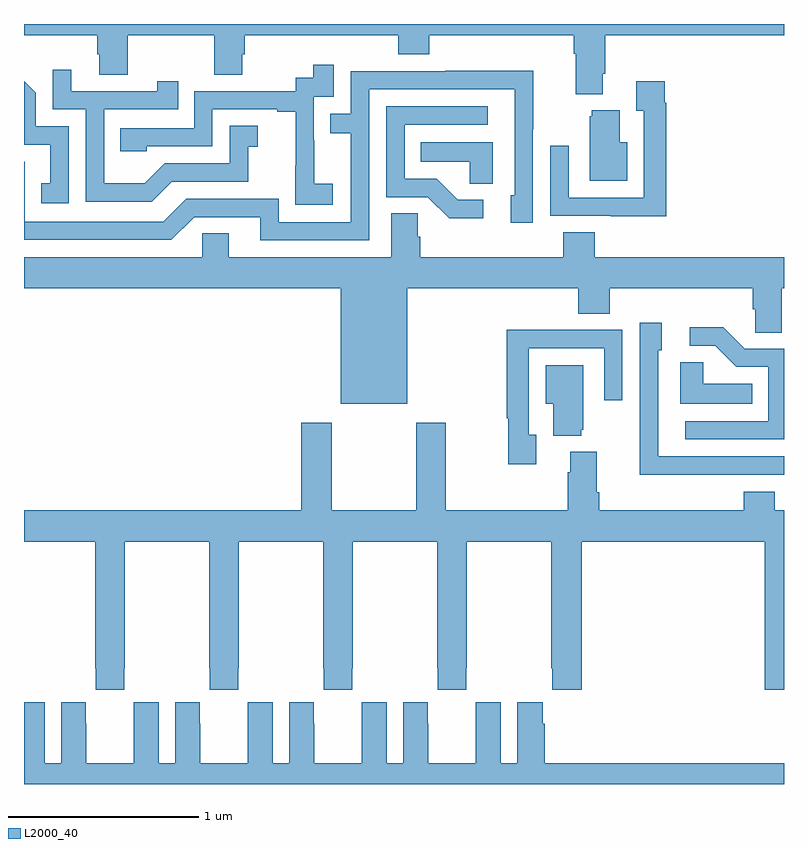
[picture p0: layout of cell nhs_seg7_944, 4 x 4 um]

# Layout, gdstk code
import gdstk
lib = gdstk.Library(unit=1e-6, precision=1e-09)
def P(c, l, *ps):  # polygons
    for p in ps: c.add(gdstk.Polygon(p, *l))
L2000_40 = (2000, 40)

nhs_seg7_944 = lib.new_cell('nhs_seg7_944')
P(nhs_seg7_944, L2000_40, [(184.045,1009.738),(184.058,1009.738),(184.058,1009.94),(185,1009.94),(185,1010),(181,1010),(181,1009.94),(181.385,1009.94),(181.385,1009.842),(181.397,1009.842),(181.397,1009.732),(181.545,1009.732),(181.545,1009.94),(182.002,1009.94),(182.002,1009.732),(182.149,1009.732),(182.149,1009.842),(182.162,1009.842),(182.162,1009.94),(182.969,1009.94),(182.969,1009.841),(183.134,1009.841),(183.134,1009.94),(183.893,1009.94),(183.893,1009.844),(183.905,1009.844),(183.905,1009.631),(184.045,1009.631)],
  [(182.626,1009.159),(182.528,1009.159),(182.528,1009.388),(182.526,1009.388),(182.526,1009.617),(182.631,1009.617),(182.631,1009.786),(182.523,1009.786),(182.523,1009.716),(182.43,1009.716),(182.43,1009.647),(181.896,1009.647),(181.896,1009.452),(181.507,1009.452),(181.507,1009.329),(181.647,1009.329),(181.647,1009.356),(181.992,1009.356),(181.992,1009.551),(182.333,1009.551),(182.333,1009.539),(182.429,1009.539),(182.429,1009.255),(182.428,1009.255),(182.428,1009.049),(182.626,1009.049)],
  [(181.777,1009.17),(182.181,1009.17),(182.181,1009.355),(182.23,1009.355),(182.23,1009.465),(182.082,1009.465),(182.082,1009.266),(181.74,1009.266),(181.636,1009.162),(181.422,1009.162),(181.422,1009.551),(181.811,1009.551),(181.811,1009.699),(181.7,1009.699),(181.7,1009.647),(181.249,1009.647),(181.249,1009.759),(181.152,1009.759),(181.152,1009.551),(181.326,1009.551),(181.326,1009.065),(181.672,1009.065)],
  [(182.817,1009.656),(183.582,1009.656),(183.582,1009.098),(183.563,1009.098),(183.563,1008.954),(183.678,1008.954),(183.678,1009.447),(183.681,1009.447),(183.681,1009.754),(183.217,1009.754),(183.217,1009.752),(182.721,1009.752),(182.721,1009.527),(182.611,1009.527),(182.611,1009.426),(182.721,1009.426),(182.721,1008.957),(182.34,1008.957),(182.34,1009.08),(181.854,1009.08),(181.734,1008.96),(181.005,1008.96),(181.005,1009.275),(181,1009.275),(181,1008.864),(181.776,1008.864),(181.896,1008.984),(182.243,1008.984),(182.243,1008.861),(182.817,1008.861)],
  [(181.236,1009.461),(181.062,1009.461),(181.062,1009.638),(181,1009.7),(181,1009.365),(181.139,1009.365),(181.139,1009.161),(181.09,1009.161),(181.09,1009.056),(181.236,1009.056)],
  [(184.379,1009.586),(184.372,1009.586),(184.372,1009.699),(184.223,1009.699),(184.223,1009.543),(184.263,1009.543),(184.263,1009.086),(183.867,1009.086),(183.867,1009.36),(183.771,1009.36),(183.771,1008.99),(184.087,1008.99),(184.087,1008.989),(184.379,1008.989)],
  [(183.418,1009.074),(183.283,1009.074),(183.172,1009.185),(183.003,1009.185),(183.003,1009.47),(183.442,1009.47),(183.442,1009.566),(182.907,1009.566),(182.907,1009.089),(183.126,1009.089),(183.239,1008.977),(183.418,1008.977)],
  [(184.174,1009.378),(184.135,1009.378),(184.135,1009.546),(183.989,1009.546),(183.989,1009.515),(183.977,1009.515),(183.977,1009.175),(184.174,1009.175)],
  [(183.466,1009.378),(183.088,1009.378),(183.088,1009.274),(183.345,1009.274),(183.345,1009.159),(183.466,1009.159)],
  [(182.666,1008.002),(183.016,1008.002),(183.016,1008.608),(183.917,1008.608),(183.917,1008.475),(184.082,1008.475),(184.082,1008.608),(184.835,1008.608),(184.835,1008.499),(184.848,1008.499),(184.848,1008.376),(184.987,1008.376),(184.987,1008.608),(185,1008.608),(185,1008.772),(184.004,1008.772),(184.004,1008.905),(183.839,1008.905),(183.839,1008.772),(183.086,1008.772),(183.086,1008.881),(183.072,1008.881),(183.072,1009.004),(182.933,1009.004),(182.933,1008.772),(182.077,1008.772),(182.077,1008.899),(181.938,1008.899),(181.938,1008.772),(181,1008.772),(181,1008.608),(182.666,1008.608)],
  [(184.703,1007.628),(185,1007.628),(185,1007.724),(184.338,1007.724),(184.338,1008.282),(184.357,1008.282),(184.357,1008.427),(184.242,1008.427),(184.242,1007.933),(184.24,1007.933),(184.24,1007.627),(184.703,1007.627)],
  [(185,1008.291),(184.794,1008.291),(184.681,1008.404),(184.503,1008.404),(184.503,1008.306),(184.637,1008.306),(184.748,1008.195),(184.917,1008.195),(184.917,1007.91),(184.479,1007.91),(184.479,1007.814),(185,1007.814)],
  [(183.697,1007.838),(183.657,1007.838),(183.657,1008.294),(184.053,1008.294),(184.053,1008.021),(184.149,1008.021),(184.149,1008.39),(183.833,1008.39),(183.833,1008.392),(183.541,1008.392),(183.541,1007.926),(183.549,1007.926),(183.549,1007.682),(183.697,1007.682)],
  [(184.832,1008.106),(184.575,1008.106),(184.575,1008.221),(184.454,1008.221),(184.454,1008.002),(184.832,1008.002)],
  [(183.932,1007.865),(183.943,1007.865),(183.943,1008.205),(183.746,1008.205),(183.746,1008.002),(183.785,1008.002),(183.785,1007.834),(183.932,1007.834)],
  [(181.527,1006.609),(181.53,1006.609),(181.53,1007.276),(181.975,1007.276),(181.975,1006.609),(181.977,1006.609),(181.977,1006.497),(182.127,1006.497),(182.127,1006.609),(182.13,1006.609),(182.13,1007.276),(182.575,1007.276),(182.575,1006.609),(182.577,1006.609),(182.577,1006.497),(182.727,1006.497),(182.727,1006.609),(182.73,1006.609),(182.73,1007.276),(183.175,1007.276),(183.175,1006.609),(183.177,1006.609),(183.177,1006.497),(183.327,1006.497),(183.327,1006.609),(183.33,1006.609),(183.33,1007.276),(183.775,1007.276),(183.775,1006.609),(183.781,1006.609),(183.781,1006.497),(183.935,1006.497),(183.935,1007.276),(184.898,1007.276),(184.898,1006.497),(185,1006.497),(185,1007.44),(184.952,1007.44),(184.952,1007.539),(184.787,1007.539),(184.787,1007.44),(184.028,1007.44),(184.028,1007.536),(184.015,1007.536),(184.015,1007.749),(183.875,1007.749),(183.875,1007.642),(183.863,1007.642),(183.863,1007.44),(183.219,1007.44),(183.219,1007.902),(183.064,1007.902),(183.064,1007.44),(182.619,1007.44),(182.619,1007.902),(182.459,1007.902),(182.459,1007.44),(181,1007.44),(181,1007.276),(181.375,1007.276),(181.375,1006.609),(181.377,1006.609),(181.377,1006.497),(181.527,1006.497)],
  [(185,1006.108),(183.74,1006.108),(183.74,1006.316),(183.73,1006.316),(183.73,1006.429),(183.596,1006.429),(183.596,1006.108),(183.508,1006.108),(183.508,1006.429),(183.378,1006.429),(183.378,1006.316),(183.377,1006.316),(183.377,1006.108),(183.127,1006.108),(183.127,1006.316),(183.126,1006.316),(183.126,1006.429),(182.996,1006.429),(182.996,1006.108),(182.908,1006.108),(182.908,1006.429),(182.778,1006.429),(182.778,1006.316),(182.777,1006.316),(182.777,1006.108),(182.527,1006.108),(182.527,1006.316),(182.526,1006.316),(182.526,1006.429),(182.396,1006.429),(182.396,1006.108),(182.308,1006.108),(182.308,1006.429),(182.178,1006.429),(182.178,1006.316),(182.177,1006.316),(182.177,1006.108),(181.927,1006.108),(181.927,1006.316),(181.926,1006.316),(181.926,1006.429),(181.796,1006.429),(181.796,1006.108),(181.708,1006.108),(181.708,1006.429),(181.578,1006.429),(181.578,1006.316),(181.577,1006.316),(181.577,1006.108),(181.327,1006.108),(181.327,1006.316),(181.326,1006.316),(181.326,1006.429),(181.196,1006.429),(181.196,1006.108),(181.108,1006.108),(181.108,1006.429),(181,1006.429),(181,1006),(185,1006)])

lib.write_gds('nhs_seg7_944.gds')
